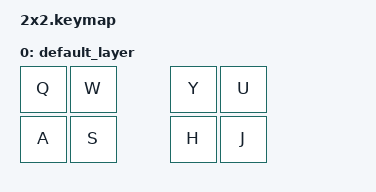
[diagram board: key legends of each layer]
#include <behaviors.dtsi>
#include <dt-bindings/zmk/keys.h>
#include <dt-bindings/zmk/bt.h>

/ {
    keymap {
        compatible = "zmk,keymap";

        default_layer {
            bindings = <
                &kp Q    &kp W    &kp Y    &kp U
                &kp A    &kp S    &kp H    &kp J
            >;
        };
    };
};
